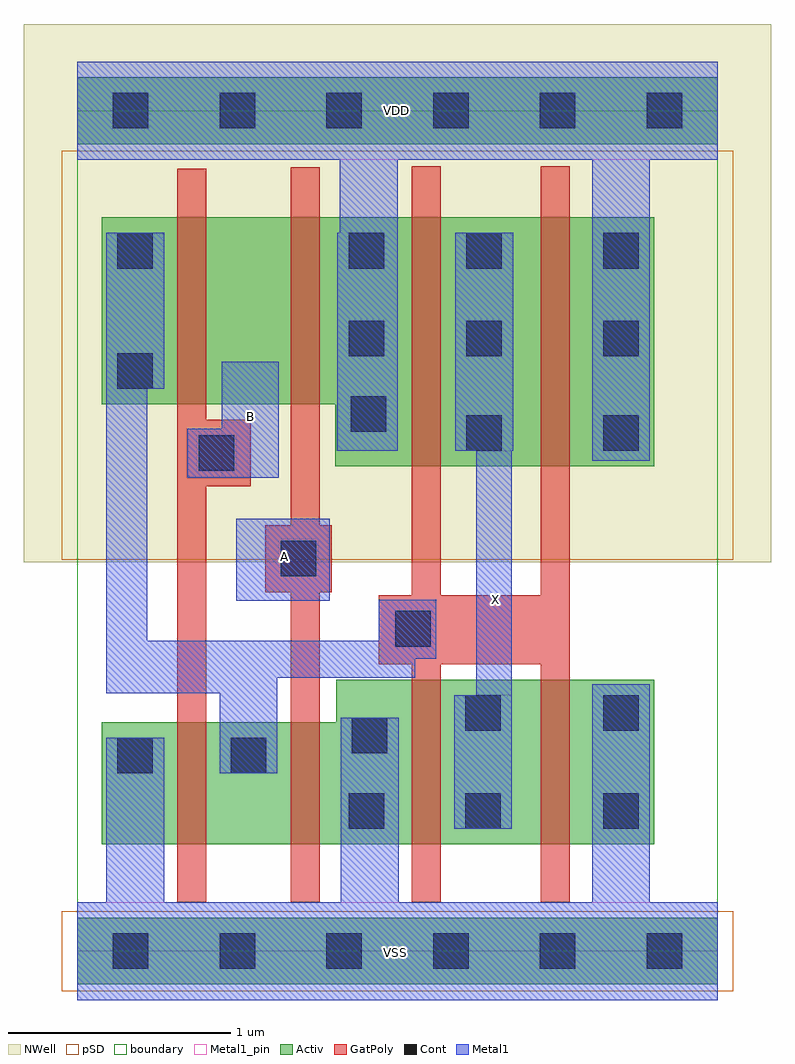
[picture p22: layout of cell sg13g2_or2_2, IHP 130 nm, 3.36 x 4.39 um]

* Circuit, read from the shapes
.subckt sg13g2_or2_2 A B VDD VSS X
XM1 n1 B VSS VSS sg13_lv_nmos w=0.55u l=0.13u
XM2 VSS A n1 VSS sg13_lv_nmos w=0.55u l=0.13u
XM3 X n1 VSS VSS sg13_lv_nmos w=0.74u l=0.13u m=2
XM4 n2 B n1 VDD sg13_lv_pmos w=0.84u l=0.13u
XM5 VDD A n2 VDD sg13_lv_pmos w=0.84u l=0.13u
XM6 X n1 VDD VDD sg13_lv_pmos w=1.12u l=0.13u m=2
.ends

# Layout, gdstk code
import gdstk
lib = gdstk.Library(unit=1e-6, precision=1e-09)
def R(c, l, rs):  # rectangles x0, y0, x1, y1
    for r in rs: c.add(gdstk.rectangle(r[:2], r[2:], *l))
def A(c, l, x, y, w, h, nx, ny, dx, dy):  # array of equal rectangles
    R(c, l, [(x+i*dx, y+j*dy, x+i*dx+w, y+j*dy+h) for i in range(nx) for j in range(ny)])
def P(c, l, *ps):  # polygons
    for p in ps: c.add(gdstk.Polygon(p, *l))
Activ = (1, 0)
GatPoly = (5, 0)
Cont = (6, 0)
Metal1 = (8, 0)
Metal1_pin = (8, 2)
pSD = (14, 0)
NWell = (31, 0)
boundary = (189, 4)

sg13g2_or2_2 = lib.new_cell('sg13g2_or2_2')
R(sg13g2_or2_2, Activ, [(0,-0.15,2.88,0.15), (0,3.63,2.88,3.93)])
P(sg13g2_or2_2, Activ, [(2.595,3.3),(0.11,3.3),(0.11,2.46),(1.16,2.46),(1.16,2.18),(2.595,2.18)],
  [(2.595,1.22),(1.165,1.22),(1.165,1.03),(0.11,1.03),(0.11,0.48),(2.595,0.48)])
R(sg13g2_or2_2, GatPoly, [(0.45,0.22,0.58,2.495), (0.96,0.22,1.09,2.395), (0.845,1.615,1.145,1.915), (0.48,2.09,0.78,2.39), (0.45,2.36,0.58,3.52), (0.96,2.36,1.09,3.525)])
P(sg13g2_or2_2, GatPoly, [(2.215,3.53),(2.085,3.53),(2.085,1.6),(1.635,1.6),(1.635,3.53),(1.505,3.53),(1.505,1.6),(1.355,1.6),(1.355,1.29),(1.505,1.29),(1.505,0.22),(1.635,0.22),(1.635,1.29),(2.085,1.29),(2.085,0.22),(2.215,0.22)])
A(sg13g2_or2_2, Cont, 0.16, -0.08, 0.16, 0.16, 6, 2, 0.48, 3.78)
R(sg13g2_or2_2, Cont, [(1.22,0.55,1.38,0.71), (1.745,0.55,1.905,0.71), (2.365,0.55,2.525,0.71), (0.18,0.8,0.34,0.96), (0.69,0.8,0.85,0.96), (0.69,0.8,0.85,0.96), (1.235,0.89,1.395,1.05), (1.745,0.99,1.905,1.15), (2.365,0.99,2.525,1.15), (1.43,1.37,1.59,1.53), (0.915,1.685,1.075,1.845), (0.545,2.16,0.705,2.32), (1.75,2.25,1.91,2.41), (2.365,2.25,2.525,2.41), (1.23,2.335,1.39,2.495), (0.18,2.53,0.34,2.69), (1.22,2.675,1.38,2.835), (1.75,2.675,1.91,2.835), (2.365,2.675,2.525,2.835), (0.18,3.07,0.34,3.23), (1.22,3.07,1.38,3.23), (1.22,3.07,1.38,3.23), (1.22,3.07,1.38,3.23), (1.75,3.07,1.91,3.23), (2.365,3.07,2.525,3.23)])
R(sg13g2_or2_2, Metal1, [(0.715,1.575,1.135,1.945)])
P(sg13g2_or2_2, Metal1, [(1.96,3.23),(1.7,3.23),(1.7,2.25),(1.795,2.25),(1.795,1.15),(1.695,1.15),(1.695,0.55),(1.955,0.55),(1.955,2.25),(1.96,2.25)],
  [(2.88,0.22),(2.575,0.22),(2.575,1.2),(2.315,1.2),(2.315,0.22),(1.445,0.22),(1.445,1.05),(1.185,1.05),(1.185,0.22),(0.39,0.22),(0.39,0.96),(0.13,0.96),(0.13,0.22),(0,0.22),(0,-0.22),(2.88,-0.22)],
  [(1.615,1.58),(1.355,1.58),(1.355,1.395),(0.315,1.395),(0.315,2.53),(0.39,2.53),(0.39,3.23),(0.13,3.23),(0.13,1.16),(0.64,1.16),(0.64,0.8),(0.9,0.8),(0.9,1.23),(1.52,1.23),(1.52,1.315),(1.615,1.315)],
  [(0.905,2.65),(0.65,2.65),(0.65,2.35),(0.495,2.35),(0.495,2.13),(0.905,2.13)],
  [(2.88,4),(0,4),(0,3.56),(1.18,3.56),(1.18,3.23),(1.17,3.23),(1.17,2.25),(1.44,2.25),(1.44,3.56),(2.315,3.56),(2.315,2.205),(2.575,2.205),(2.575,3.56),(2.88,3.56)])
R(sg13g2_or2_2, Metal1_pin, [(0,-0.22,2.88,0.22), (1.795,1.15,1.955,2.25), (0.715,1.575,1.135,1.945), (0.65,2.13,0.905,2.65), (0,3.56,2.88,4)])
R(sg13g2_or2_2, pSD, [(-0.07,-0.18,2.95,0.18), (-0.07,1.76,2.95,3.6)])
R(sg13g2_or2_2, NWell, [(-0.24,1.75,3.12,4.17)])
R(sg13g2_or2_2, boundary, [(0,0,2.88,3.78)])
sg13g2_or2_2.add(gdstk.Label('B', (0.78,2.405), layer=8, texttype=25))
sg13g2_or2_2.add(gdstk.Label('VSS', (1.43,-0.005), layer=8, texttype=25))
sg13g2_or2_2.add(gdstk.Label('A', (0.93,1.775), layer=8, texttype=25))
sg13g2_or2_2.add(gdstk.Label('X', (1.88,1.58), layer=8, texttype=25))
sg13g2_or2_2.add(gdstk.Label('VDD', (1.435,3.78), layer=8, texttype=25))

lib.write_gds('sg13g2_or2_2.gds')
